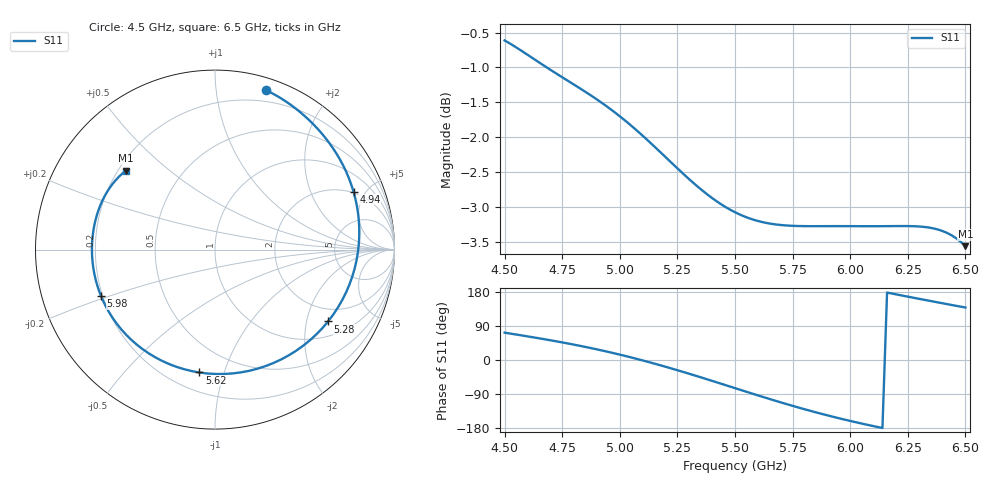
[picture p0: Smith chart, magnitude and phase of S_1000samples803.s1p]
! TOUCHSTONE file generated by CST MICROWAVE STUDIO
! Date and time: Sat Oct 29 10:52:07 2022
! Project name: L.cst
! Parameters = {Di=1.27; Epsilon_r=1.56; InnerDiameter=1.27; Length=2; Lf=10; Lg=60; OuterConductorThickness=0.2921; OuterDiameter=3.6; Wf=3; Wp=41.2; de=1.5; df=6.8; g=0.8; gx=2.85584; gy=1.35384; h=2.34; hf=1.524; px=10.5467; py=10.3077; w=9.7; wx=7.69082; wy=8.95385}
! Header version: 2018
! Port assignment regex: !\s*Touchstone port\s*([0-9]+)\s*=\s*(CST MWS port|CST DS port)\s*([0-9]+|Zmin|Zmax)\s*\(\"(.*)\"\)(\s*mode\s*([0-9]+))?.*
! Touchstone port assignment:
! Touchstone port 1 = CST MWS port 1 ("")
# GHz S DB R 50
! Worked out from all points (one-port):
!   101 points, 4.5 GHz to 6.5 GHz, reference 50 ohm
!   lowest |S11| = -3.6 dB at 6.5 GHz (marker M1), VSWR 4.94, Z = 11.5 + j18.1 ohm
!   |S11| at or under -10 dB: nowhere
!   S11 on the Smith chart (normalised r, x): 4.5 GHz: 0.10, +1.37; 4.94 GHz: 1.92, +4.13; 5.28 GHz: 1.49, -2.70; 5.62 GHz: 0.32, -0.83; 5.98 GHz: 0.19, -0.19; 6.5 GHz: 0.23, +0.36
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4.5  -0.61 72.1
4.64  -0.91 58.2
4.76  -1.16 45.3
4.84  -1.33 35.8
4.94  -1.55 22.7
5  -1.70 14.2
5.08  -1.92 1.9
5.14  -2.10 -7.8
5.2  -2.29 -18.1
5.26  -2.48 -28.8
5.28  -2.54 -32.4
5.34  -2.72 -43.6
5.4  -2.87 -55.0
5.46  -3.00 -66.5
5.5  -3.08 -74.3
5.56  -3.16 -85.8
5.62  -3.22 -97.2
5.68  -3.25 -108.4
5.76  -3.27 -122.7
5.86  -3.28 -139.5
5.92  -3.28 -149.0
5.98  -3.28 -157.9
6  -3.28 -160.8
6.12  -3.28 -176.9
6.18  -3.28 175.6
6.26  -3.28 166.0
6.38  -3.33 152.1
6.5  -3.56 138.5
